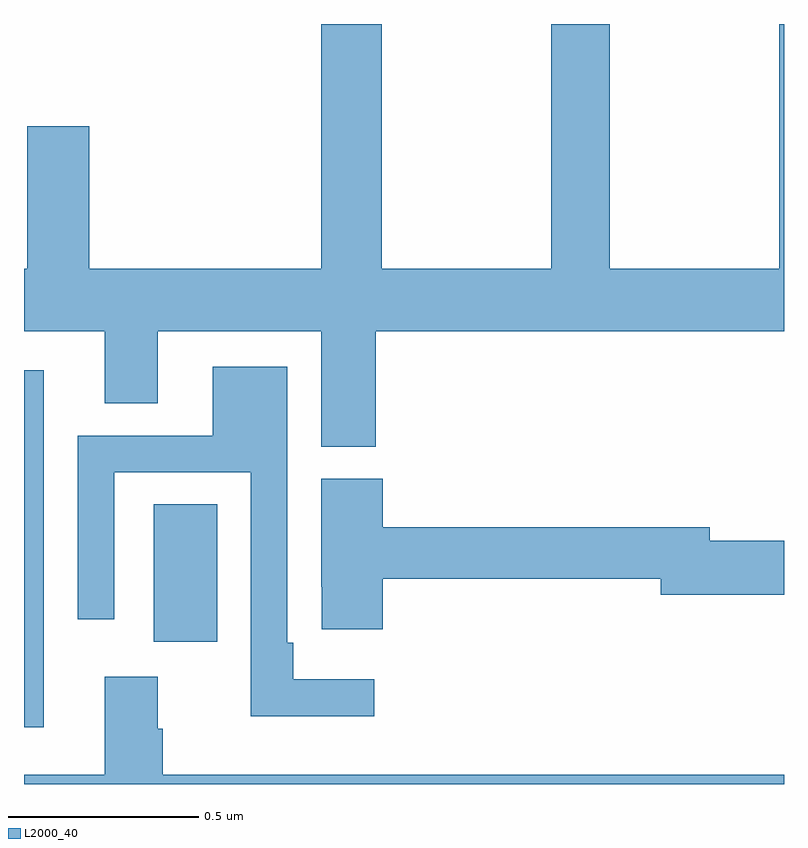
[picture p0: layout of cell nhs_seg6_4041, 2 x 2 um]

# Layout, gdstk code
import gdstk
lib = gdstk.Library(unit=1e-6, precision=1e-09)
def R(c, l, rs):  # rectangles x0, y0, x1, y1
    for r in rs: c.add(gdstk.rectangle(r[:2], r[2:], *l))
def P(c, l, *ps):  # polygons
    for p in ps: c.add(gdstk.Polygon(p, *l))
L2000_40 = (2000, 40)

nhs_seg6_4041 = lib.new_cell('nhs_seg6_4041')
R(nhs_seg6_4041, L2000_40, [(165,923.649,165.052,924.589), (165.341,923.874,165.508,924.236)])
P(nhs_seg6_4041, L2000_40, [(165.926,924.692),(167,924.692),(167,925.5),(166.987,925.5),(166.987,924.856),(166.542,924.856),(166.542,925.5),(166.387,925.5),(166.387,924.856),(165.942,924.856),(165.942,925.5),(165.782,925.5),(165.782,924.856),(165.172,924.856),(165.172,925.231),(165.008,925.231),(165.008,924.856),(165,924.856),(165,924.692),(165.212,924.692),(165.212,924.502),(165.352,924.502),(165.352,924.692),(165.782,924.692),(165.782,924.388),(165.926,924.388)],
  [(165.922,923.776),(165.709,923.776),(165.709,923.872),(165.693,923.872),(165.693,924.598),(165.497,924.598),(165.497,924.417),(165.141,924.417),(165.141,923.934),(165.237,923.934),(165.237,924.321),(165.597,924.321),(165.597,923.678),(165.922,923.678)],
  [(165.944,924.04),(166.676,924.04),(166.676,923.998),(167,923.998),(167,924.14),(166.804,924.14),(166.804,924.176),(165.944,924.176),(165.944,924.303),(165.782,924.303),(165.782,924.019),(165.783,924.019),(165.783,923.907),(165.944,923.907)],
  [(167,923.524),(165.365,923.524),(165.365,923.645),(165.352,923.645),(165.352,923.782),(165.212,923.782),(165.212,923.524),(165,923.524),(165,923.5),(167,923.5)])

lib.write_gds('nhs_seg6_4041.gds')
